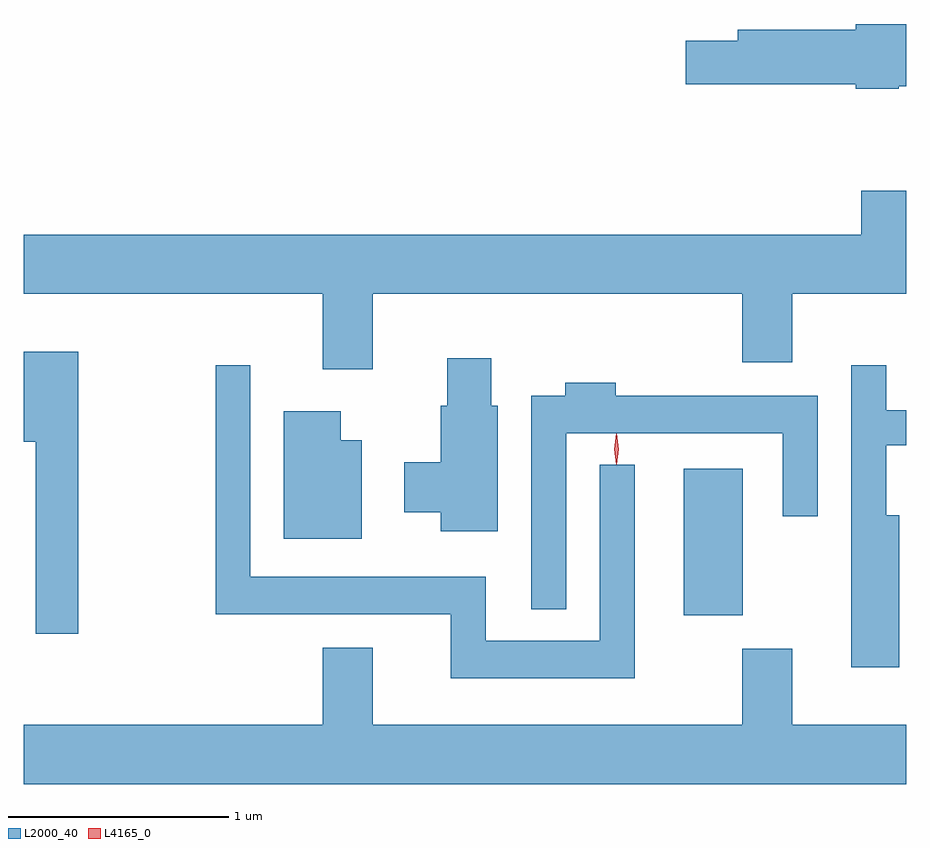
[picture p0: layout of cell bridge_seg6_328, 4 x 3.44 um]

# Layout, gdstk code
import gdstk
lib = gdstk.Library(unit=1e-6, precision=1e-09)
def R(c, l, rs):  # rectangles x0, y0, x1, y1
    for r in rs: c.add(gdstk.rectangle(r[:2], r[2:], *l))
def P(c, l, *ps):  # polygons
    for p in ps: c.add(gdstk.Polygon(p, *l))
L2000_40 = (2000, 40)
L4165_0 = (4165, 0)

bridge_seg6_328 = lib.new_cell('bridge_seg6_328')
R(bridge_seg6_328, L2000_40, [(1268.276,1546.361,1268.544,1547.024)])
P(bridge_seg6_328, L2000_40, [(1269.25,1548.756),(1269.286,1548.756),(1269.286,1549.039),(1269.056,1549.039),(1269.056,1549.014),(1268.521,1549.014),(1268.521,1548.964),(1268.286,1548.964),(1268.286,1548.766),(1269.056,1548.766),(1269.056,1548.746),(1269.25,1548.746)],
  [(1266.869,1547.816),(1268.541,1547.816),(1268.541,1547.506),(1268.769,1547.506),(1268.769,1547.816),(1269.286,1547.816),(1269.286,1548.284),(1269.081,1548.284),(1269.081,1548.084),(1265.286,1548.084),(1265.286,1547.816),(1266.641,1547.816),(1266.641,1547.476),(1266.869,1547.476)],
  [(1265.534,1547.554),(1265.286,1547.554),(1265.286,1547.146),(1265.341,1547.146),(1265.341,1546.276),(1265.534,1546.276)],
  [(1267.434,1547.309),(1267.404,1547.309),(1267.404,1547.524),(1267.206,1547.524),(1267.206,1547.309),(1267.176,1547.309),(1267.176,1547.054),(1267.011,1547.054),(1267.011,1546.826),(1267.176,1546.826),(1267.176,1546.741),(1267.434,1546.741)],
  [(1269.254,1546.814),(1269.194,1546.814),(1269.194,1547.131),(1269.286,1547.131),(1269.286,1547.289),(1269.194,1547.289),(1269.194,1547.493),(1269.036,1547.493),(1269.036,1546.126),(1269.254,1546.126)],
  [(1268.054,1547.043),(1267.896,1547.043),(1267.896,1546.244),(1267.379,1546.244),(1267.379,1546.534),(1266.314,1546.534),(1266.314,1547.493),(1266.156,1547.493),(1266.156,1546.366),(1267.221,1546.366),(1267.221,1546.076),(1268.054,1546.076)],
  [(1267.744,1547.186),(1268.726,1547.186),(1268.726,1546.808),(1268.884,1546.808),(1268.884,1547.354),(1267.969,1547.354),(1267.969,1547.414),(1267.741,1547.414),(1267.741,1547.354),(1267.586,1547.354),(1267.586,1546.388),(1267.744,1546.388)],
  [(1266.819,1547.154),(1266.724,1547.154),(1266.724,1547.284),(1266.466,1547.284),(1266.466,1546.706),(1266.819,1546.706)],
  [(1269.286,1545.864),(1268.769,1545.864),(1268.769,1546.209),(1268.541,1546.209),(1268.541,1545.864),(1266.869,1545.864),(1266.869,1546.214),(1266.641,1546.214),(1266.641,1545.864),(1265.286,1545.864),(1265.286,1545.596),(1269.286,1545.596)])
P(bridge_seg6_328, L4165_0, [(1267.973,1547.043),(1267.972,1547.044),(1267.963,1547.113),(1267.972,1547.182),(1267.973,1547.183),(1267.974,1547.182),(1267.983,1547.113),(1267.974,1547.044)])

lib.write_gds('bridge_seg6_328.gds')
